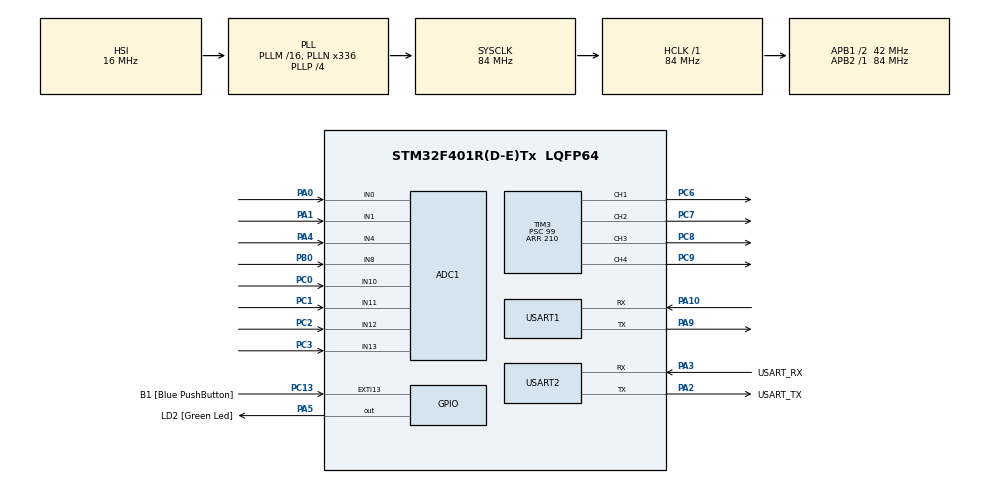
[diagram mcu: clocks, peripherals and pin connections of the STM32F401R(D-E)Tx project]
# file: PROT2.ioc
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ADC1.Channel-0\#ChannelRegularConversion=ADC_CHANNEL_0
ADC1.Channel-1\#ChannelRegularConversion=ADC_CHANNEL_1
ADC1.Channel-2\#ChannelRegularConversion=ADC_CHANNEL_4
ADC1.Channel-3\#ChannelRegularConversion=ADC_CHANNEL_8
ADC1.Channel-4\#ChannelRegularConversion=ADC_CHANNEL_10
ADC1.Channel-5\#ChannelRegularConversion=ADC_CHANNEL_11
ADC1.Channel-6\#ChannelRegularConversion=ADC_CHANNEL_12
ADC1.Channel-7\#ChannelRegularConversion=ADC_CHANNEL_13
ADC1.ContinuousConvMode=DISABLE
ADC1.DMAContinuousRequests=ENABLE
ADC1.EOCSelection=ADC_EOC_SEQ_CONV
ADC1.NbrOfConversion=8
ADC1.NbrOfConversionFlag=1
ADC1.Rank-0\#ChannelRegularConversion=1
ADC1.Rank-1\#ChannelRegularConversion=2
ADC1.Rank-2\#ChannelRegularConversion=3
ADC1.Rank-3\#ChannelRegularConversion=4
ADC1.Rank-4\#ChannelRegularConversion=5
ADC1.Rank-5\#ChannelRegularConversion=6
ADC1.Rank-6\#ChannelRegularConversion=7
ADC1.Rank-7\#ChannelRegularConversion=8
ADC1.SamplingTime-0\#ChannelRegularConversion=ADC_SAMPLETIME_15CYCLES
ADC1.SamplingTime-1\#ChannelRegularConversion=ADC_SAMPLETIME_15CYCLES
ADC1.SamplingTime-2\#ChannelRegularConversion=ADC_SAMPLETIME_15CYCLES
ADC1.SamplingTime-3\#ChannelRegularConversion=ADC_SAMPLETIME_15CYCLES
ADC1.SamplingTime-4\#ChannelRegularConversion=ADC_SAMPLETIME_15CYCLES
ADC1.SamplingTime-5\#ChannelRegularConversion=ADC_SAMPLETIME_15CYCLES
ADC1.SamplingTime-6\#ChannelRegularConversion=ADC_SAMPLETIME_15CYCLES
ADC1.SamplingTime-7\#ChannelRegularConversion=ADC_SAMPLETIME_15CYCLES
ADC1.ScanConvMode=ENABLE
ADC1.master=1
Dma.ADC1.0.Direction=DMA_PERIPH_TO_MEMORY
Dma.ADC1.0.FIFOMode=DMA_FIFOMODE_DISABLE
Dma.ADC1.0.Instance=DMA2_Stream0
Dma.ADC1.0.MemDataAlignment=DMA_MDATAALIGN_HALFWORD
Dma.ADC1.0.MemInc=DMA_MINC_ENABLE
Dma.ADC1.0.Mode=DMA_CIRCULAR
Dma.ADC1.0.PeriphDataAlignment=DMA_PDATAALIGN_HALFWORD
Dma.ADC1.0.PeriphInc=DMA_PINC_DISABLE
Dma.ADC1.0.Priority=DMA_PRIORITY_HIGH
Dma.Request0=ADC1
Mcu.Family=STM32F4
Mcu.Name=STM32F401R(D-E)Tx
Mcu.Package=LQFP64
NVIC.ADC_IRQn=true\:0\:0\:false\:false\:true\:true\:true\:true
NVIC.DMA2_Stream0_IRQn=true\:0\:0\:false\:false\:true\:false\:true\:true
NVIC.PriorityGroup=NVIC_PRIORITYGROUP_0
NVIC.TIM3_IRQn=true\:0\:0\:false\:false\:true\:true\:true\:true
NVIC.TIM4_IRQn=true\:0\:0\:false\:false\:true\:true\:true\:true
NVIC.USART1_IRQn=true\:0\:0\:false\:false\:true\:true\:true\:true
PA0-WKUP.Signal=ADCx_IN0
PA1.Signal=ADCx_IN1
PA10.Mode=Asynchronous
PA10.Signal=USART1_RX
PA13.GPIO_Label=TMS
PA13.Mode=Serial_Wire
PA13.Signal=SYS_JTMS-SWDIO
PA14.GPIO_Label=TCK
PA14.Mode=Serial_Wire
PA14.Signal=SYS_JTCK-SWCLK
PA2.GPIO_Label=USART_TX
PA2.GPIO_Mode=GPIO_MODE_AF_PP
PA2.GPIO_PuPd=GPIO_NOPULL
PA2.GPIO_Speed=GPIO_SPEED_FREQ_LOW
PA2.Mode=Asynchronous
PA2.Signal=USART2_TX
PA3.GPIO_Label=USART_RX
PA3.GPIO_Mode=GPIO_MODE_AF_PP
PA3.GPIO_PuPd=GPIO_NOPULL
PA3.GPIO_Speed=GPIO_SPEED_FREQ_LOW
PA3.Mode=Asynchronous
PA3.Signal=USART2_RX
PA4.Signal=ADCx_IN4
PA5.GPIO_Label=LD2 [Green Led]
PA5.GPIO_Mode=GPIO_MODE_OUTPUT_PP
PA5.GPIO_PuPd=GPIO_NOPULL
PA5.GPIO_Speed=GPIO_SPEED_FREQ_LOW
PA5.Signal=GPIO_Output
PA9.Mode=Asynchronous
PA9.Signal=USART1_TX
PB0.Signal=ADCx_IN8
PB3.GPIO_Label=SWO
PB3.Signal=SYS_JTDO-SWO
PC0.Signal=ADCx_IN10
PC1.Signal=ADCx_IN11
PC13-ANTI_TAMP.GPIO_Label=B1 [Blue PushButton]
PC13-ANTI_TAMP.GPIO_ModeDefaultEXTI=GPIO_MODE_IT_FALLING
PC13-ANTI_TAMP.GPIO_PuPd=GPIO_NOPULL
PC13-ANTI_TAMP.Signal=GPXTI13
PC14-OSC32_IN.Mode=LSE-External-Oscillator
PC14-OSC32_IN.Signal=RCC_OSC32_IN
PC15-OSC32_OUT.Mode=LSE-External-Oscillator
PC15-OSC32_OUT.Signal=RCC_OSC32_OUT
PC2.Signal=ADCx_IN12
PC3.Signal=ADCx_IN13
PC6.Signal=S_TIM3_CH1
PC7.Signal=S_TIM3_CH2
PC8.Signal=S_TIM3_CH3
PC9.Signal=S_TIM3_CH4
PH0\ -\ OSC_IN.Mode=HSE-External-Clock-Source
PH0\ -\ OSC_IN.Signal=RCC_OSC_IN
PH1\ -\ OSC_OUT.Mode=HSE-External-Clock-Source
PH1\ -\ OSC_OUT.Signal=RCC_OSC_OUT
ProjectManager.HeapSize=0x200
ProjectManager.StackSize=0x400
ProjectManager.TargetToolchain=STM32CubeIDE
RCC.48MHZClocksFreq_Value=48000000
RCC.AHBFreq_Value=84000000
RCC.APB1CLKDivider=RCC_HCLK_DIV2
RCC.APB1Freq_Value=42000000
RCC.APB1TimFreq_Value=84000000
RCC.APB2Freq_Value=84000000
RCC.APB2TimFreq_Value=84000000
RCC.CortexFreq_Value=84000000
RCC.HCLKFreq_Value=84000000
RCC.HSE_VALUE=8000000
RCC.HSI_VALUE=16000000
RCC.PLLN=336
RCC.PLLP=RCC_PLLP_DIV4
RCC.PLLQ=7
RCC.SYSCLKFreq_VALUE=84000000
RCC.SYSCLKSource=RCC_SYSCLKSOURCE_PLLCLK
RCC.VCOOutputFreq_Value=336000000
SH.ADCx_IN0.0=ADC1_IN0,IN0
SH.ADCx_IN1.0=ADC1_IN1,IN1
SH.ADCx_IN10.0=ADC1_IN10,IN10
SH.ADCx_IN11.0=ADC1_IN11,IN11
SH.ADCx_IN12.0=ADC1_IN12,IN12
SH.ADCx_IN13.0=ADC1_IN13,IN13
SH.ADCx_IN4.0=ADC1_IN4,IN4
SH.ADCx_IN8.0=ADC1_IN8,IN8
SH.S_TIM3_CH1.0=TIM3_CH1,PWM Generation1 CH1
SH.S_TIM3_CH2.0=TIM3_CH2,PWM Generation2 CH2
SH.S_TIM3_CH3.0=TIM3_CH3,PWM Generation3 CH3
SH.S_TIM3_CH4.0=TIM3_CH4,PWM Generation4 CH4
TIM3.Channel-PWM\ Generation1\ CH1=TIM_CHANNEL_1
TIM3.Channel-PWM\ Generation2\ CH2=TIM_CHANNEL_2
TIM3.Channel-PWM\ Generation3\ CH3=TIM_CHANNEL_3
TIM3.Channel-PWM\ Generation4\ CH4=TIM_CHANNEL_4
TIM3.Period=210
TIM3.Prescaler=99
TIM4.Period=8400
TIM4.Prescaler=100
USART1.VirtualMode=VM_ASYNC
USART2.VirtualMode=VM_ASYNC
VP_TIM3_VS_ClockSourceINT.Mode=Internal
VP_TIM4_VS_ClockSourceINT.Mode=Internal
board=NUCLEO-F401RE

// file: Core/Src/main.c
/* USER CODE BEGIN Header */
/**
  ******************************************************************************
  * @file           : main.c
  * @brief          : Main program body
  ******************************************************************************
  * @attention
  *
  * Copyright (c) 2023 STMicroelectronics.
  * All rights reserved.
  *
  * This software is licensed under terms that can be found in the LICENSE file
  * in the root directory of this software component.
  * If no LICENSE file comes with this software, it is provided AS-IS.
  *
  ******************************************************************************
  */
/* USER CODE END Header */
#include "main.h"

/* USER CODE BEGIN Includes */
#include "string.h"
#include "stdlib.h"
/* USER CODE END Includes */

/* USER CODE BEGIN PTD */
 typedef union{
        uint8_t u8[4];
        int8_t  i8[4];

        uint16_t u16[2];
        int16_t  i16[2];

        uint32_t u32;
        int32_t  i32;

        float    f;
}_sWork;

typedef union{
    struct{
        uint8_t b0:1;
        uint8_t b1:1;
        uint8_t b2:1;
        uint8_t b3:1;
        uint8_t b4:1;
        uint8_t b5:1;
        uint8_t b6:1;
        uint8_t b7:1;
    }bit;
    uint8_t byte;
}flag;
/* USER CODE END PTD */

/* USER CODE BEGIN PD */
#define race 				flag1.bit.b0
#define ON100MS				flag1.bit.b1
#define ON10MS				flag1.bit.b2
#define stop				flag1.bit.b3
#define readyToSend			flag1.bit.b4
#define espReadyToRecieve	flag1.bit.b5
#define killRace			flag1.bit.b6
#define espConnected		flag2.bit.b0
#define sendALIVE			flag2.bit.b1
/* USER CODE END PD */

ADC_HandleTypeDef hadc1;
DMA_HandleTypeDef hdma_adc1;

TIM_HandleTypeDef htim3;
TIM_HandleTypeDef htim4;

UART_HandleTypeDef huart1;
UART_HandleTypeDef huart2;

/* USER CODE BEGIN PV */
const char AT_com[]="AT\r\n";//4
const char AT_ans[]="AT\r\n\r\nOK\r\n";//10

const char CWQAP[]="AT+CWQAP\r\n";//10
const char ANS_CWQAP[]={"AT+CWQAP\r\n\r\nOK\r\n"};//16
const char ANS_CWQAP2[]={"AT+CWQAP\r\n\r\nOK\r\nWIFI DISCONNECT/r/n"};//35

const char CWMODE[]="AT+CWMODE=3\r\n";//13
const char ANS_CWMODE[]="AT+CWMODE=3\r\n\r\nOK\r\n";//19

const char CWJAP_casa[]="AT+CWJAP=\"FTTHBOUVET\",\"wenvla3112\"\r\n";//36
const char ANS_CWJAP_casa2[]="AT+CWJAP=\"FTTHBOUVET\",\"wenvla3112\"\r\n";//36
const char ANS_CWJAP_casa[]="AT+CWJAP=\"FTTHBOUVET\",\"wenvla3112\"\r\nWIFI CONNECTED\r\nWIFI GOT IP\r\n\r\nOK\r\n";//71

const char CIFSR[]="AT+CIFSR\r\n";//10
const char CIFSR_STAIP[]="+CIFSR:STAIP,";//13

const char CIPMUX[]="AT+CIPMUX=0\r\n";//13
const char ANS_CIPMUX[]="AT+CIPMUX=0\r\n\r\nOK\r\n";//19

const char CIPSTART[]="AT+CIPSTART=\"UDP\",\"192.168.1.195\",30017,3017\r\n";//46
const char ANS_CIPSTART2[]="AT+CIPSTART=\"UDP\",\"192.168.1.195\",30017,3017\r\nCONNECT\r\n\r\nOK\r\n";//61
const char ANS_CIPSTART[]="AT+CIPSTART=\"UDP\",\"192.168.1.195\",30017,3017\r\n";//46
const char ANS_CIPSTART_ERROR[]="AT+CIPSTART=\"UDP\",\"192.168.1.195\",30017,3017\r\nALREADY CONNECTED\r\n\r\nERROR\r\n";//74
const char AUTOMATIC_WIFI_CONNECTED[]={"WIFI CONNECTED\r\nWIFI GOT IP\r\n"};//29
const char WIFI_DISCONNECT[]="WIFI DISCONNECT\r\n";//17

const char CIPSEND[]="AT+CIPSEND=";//11
const char CIPSEND1[]={'A','T','+','C','I','P','S','E','N','D','='};
const char CIPSEND2[]={'\r','\n','\r','\n','O','K','\r','\n','>'};
const char CIPSEND3[]="Recv ";
const char CIPSEND4[]={" bytes\r\n\r\nSEND OK\r\n"};//25

const char OK[]="\r\nOK\r\n";
const char IPD[]="\r\n+IPD,";
const char UNER[]="UNER";
const char ALIVE[]={'U','N','E','R', 0x02 ,':',0xF0};
const char ACK_D0[]={'U','N','E','R',0x03,':',0xD0,0x0D,0xDC};
const int COORD_SENSORES[]={-5,-4,-3,-2,-1,1,2,3,4,5};

volatile uint8_t buf_rx[256];
volatile uint8_t buf_tx[256];

volatile uint16_t ADCData[32][8];

char espIP[15];

volatile uint8_t time100ms=0;
volatile uint8_t time10ms=0;

volatile uint8_t indRX_W=0;
volatile uint8_t indRX_R=0;
volatile uint8_t indTX_W=0;
volatile uint8_t indTX_R=0;
volatile uint8_t indADC=0;

uint8_t coincidencias = 0, coincidencias2 = 0, duty = 0, AT=0, decoCIPSEND=0, decodeCIF=0, decoIPD=0;
uint8_t timeout1=0, timeout2=0, timeoutADC=0, timeoutPID=0;
uint8_t largoIP=0, bytesToSend=0, bytesToSend_aux=0, timeToSendAlive=0;
uint8_t cks, bytesUNERprotocol, contByte=1, cmdPosInBuf;
uint8_t comandoActual=0, primLectADC=1;
uint8_t firstCalcu=1,timeOutArranque, calibADC=1,CALIBRADO=0;

_sWork PWM_motor1,PWM_motor2,jobTime,error;
_sWork valueADC[8], valueADCCAL[8];
_sWork Kp,Kd,Ki;
_sWork pwmBase;

volatile flag flag1,flag2;

float integral=0,derivativo=0,turn=0,Error=0,lastError=0;
float  Constante_Relacion[8],proporcional = 0, cuentapid=0, valorsensormax=0;
/* USER CODE END PV */

void SystemClock_Config(void);
static void MX_GPIO_Init(void);
static void MX_DMA_Init(void);
static void MX_USART2_UART_Init(void);
static void MX_TIM4_Init(void);
static void MX_USART1_UART_Init(void);
static void MX_TIM3_Init(void);
static void MX_ADC1_Init(void);
/* USER CODE BEGIN PFP */
void HAL_UART_RxCpltCallback(UART_HandleTypeDef *huart);
void HAL_TIM_PeriodElapsedCallback(TIM_HandleTypeDef *htim);
void HAL_ADC_ConvCpltCallback(ADC_HandleTypeDef* hadc);
void initEsp();
void uart();
void recibirmensaje();
void udpCom(uint8_t cmd);
void DecodeComands(uint8_t *buffer,uint8_t indexCMD);
void leerADC();
void findLine(_sWork *BUFADC);
void calcPID(uint32_t pwmBase1,uint32_t pwmBase2);
void calibrarADC();
void calibrarVal(void);
/* USER CODE END PFP */

/* USER CODE BEGIN 0 */
void HAL_UART_RxCpltCallback(UART_HandleTypeDef *huart){

	indRX_W++;
	HAL_UART_Receive_IT(&huart1, (uint8_t *) &buf_rx[indRX_W], 1);
}

void HAL_ADC_ConvCpltCallback(ADC_HandleTypeDef* hadc){

	//indADC++;
	if(indADC==32){
		indADC=0;
	}
}

void HAL_TIM_PeriodElapsedCallback(TIM_HandleTypeDef *htim){

	if(htim->Instance == TIM4){//ENTRA CADA 10 MS
			indADC++;
			HAL_ADC_Start_DMA(&hadc1, (uint32_t *)&ADCData,8*32);

			if(indADC==32){
					indADC=0;
				}

			time100ms--;
			if(!time100ms){
				time100ms=10;
				ON100MS = 1;
			}
			time10ms--;
			if(!time10ms){
				time10ms=1;
				ON10MS = 1;
			}
		}
}

void uart(){

	if((huart1.Instance->SR & UART_FLAG_TXE)==UART_FLAG_TXE){
		huart1.Instance->DR=buf_tx[indTX_R];
		indTX_R++;
	}

}

void initEsp(){

	if(readyToSend){
		switch(AT){
			case 0:
				memcpy((uint8_t*)&buf_tx[indTX_W],AT_com,4);
				indTX_W+=4;
				timeout2 = 10;
				readyToSend = 0;
			break;
			case 1:
				memcpy((uint8_t*)&buf_tx[indTX_W],CWQAP,10);
				indTX_W+=10;
				timeout2 = 10;
				readyToSend = 0;
			break;
			case 2:
				memcpy((uint8_t*)&buf_tx[indTX_W],CWMODE,13);
				indTX_W+=13;
				timeout2 = 10;
				readyToSend = 0;
			break;
			case 3:
				memcpy((uint8_t*)&buf_tx[indTX_W],CWJAP_casa,36);
				indTX_W+=36;
				timeout2 = 50;
				readyToSend = 0;
			break;
			case 4:
				memcpy((uint8_t*)&buf_tx[indTX_W],CIPMUX,13);
				indTX_W+=13;
				timeout2 = 10;
				readyToSend = 0;
			break;
			case 5:
				memcpy((uint8_t*)&buf_tx[indTX_W],CIFSR,10);
				indTX_W+=10;
				timeout2 = 10;
				readyToSend = 0;
			break;
			case 6:
				memcpy((uint8_t*)&buf_tx[indTX_W],CIPSTART,46);
				indTX_W+=46;
				timeout2 = 20;
				readyToSend = 0;
			break;
			case 7:
				duty++;
			break;
		}

	}

}

void recibirmensaje(){

	switch(AT){
		case 0:
			if(buf_rx[indRX_R]==AT_ans[coincidencias]){
				coincidencias++;

				if(coincidencias>6){
					//HAL_GPIO_TogglePin(LD2_GPIO_Port, LD2_Pin);
					coincidencias = 0;
					AT++;
					readyToSend = 1;
				}
			}else{
				if(!timeout2){
					indRX_R=indRX_W;
					coincidencias = 0;
					readyToSend=1;
					break;
				}
			}
		break;
		case 1:
			if(buf_rx[indRX_R]==ANS_CWQAP[coincidencias]){
				coincidencias++;

				if(coincidencias>14){
					//HAL_GPIO_TogglePin(LD2_GPIO_Port, LD2_Pin);
					coincidencias = 0;
					AT++;
					readyToSend = 1;
				}
			}else{
				if(!timeout2){
					indRX_R=indRX_W;
					coincidencias = 0;
					readyToSend=1;
					break;
				}
			}
			/*
			if(buf_rx[indRX_R]==AUTOMATIC_WIFI_CONNECTED[coincidencias]){
				coincidencias++;

				if(coincidencias>25){
					coincidencias = 0;
					AT++;
					readyToSend = 1;
				}
			}else{
				if(buf_rx[indRX_R]==WIFI_DISCONNECT[coincidencias]){
					coincidencias++;

					if(coincidencias>15){
						coincidencias = 0;
						AT=0;
						readyToSend = 1;
						//reiniciar pin enable y abortar comunicacion
						timeout1=10;
					}
				}else{
					if(!timeout2){
						indRX_R=indRX_W;
						coincidencias = 0;
						readyToSend=1;
						AT=2;
						break;
					}
				}
			}
		break;*/
		case 2:
			if(buf_rx[indRX_R]==ANS_CWMODE[coincidencias]){
				coincidencias++;

				if(coincidencias>17){
					coincidencias = 0;
					AT++;
					readyToSend = 1;
				}
			}else{
				if(!timeout2){
					indRX_R=indRX_W;
					coincidencias = 0;
					readyToSend=1;
					break;
				}
			}
		break;
		case 3:
			if(buf_rx[indRX_R]==ANS_CWJAP_casa[coincidencias]){
				coincidencias++;

				if(coincidencias>68){
					coincidencias = 0;
					AT++;
					readyToSend = 1;
				}
			}
		break;
		case 4:
			if(buf_rx[indRX_R]==ANS_CIPMUX[coincidencias]){
				coincidencias++;

				if(coincidencias>17){
					coincidencias = 0;
					AT+=2;
					readyToSend = 1;
				}
			}else{
				if(!timeout2){
					indRX_R=indRX_W;
					coincidencias = 0;
					readyToSend=1;
					break;
				}
			}
		break;
		case 5:
			switch(decodeCIF){
			case 0:
				if(buf_rx[indRX_R]==CIFSR[coincidencias]){
					coincidencias++;

					if(coincidencias>8){
						coincidencias = 0;
						decodeCIF++;
						//AT++;
						//readyToSend = 1;
					}
				}else{
					if(!timeout2){
						indRX_R=indRX_W;
						coincidencias = 0;
						readyToSend=1;
						break;
					}
				}
			break;
			case 1:
				if(buf_rx[indRX_R]==CIFSR_STAIP[coincidencias]){
					coincidencias++;

					if(coincidencias>10){
						coincidencias = 0;
						decodeCIF++;
						//AT++;
						//readyToSend = 1;
					}
				}
			break;
			case 2:
				espIP[coincidencias]=buf_rx[indRX_R];
				coincidencias++;
				if((buf_rx[indRX_R]=='"')&&(largoIP>1)){
					coincidencias=0;
					decodeCIF++;
				}
			break;
			case 3:
				if(buf_rx[indRX_R]==OK[coincidencias]){
					coincidencias++;

					if(coincidencias>4){
						coincidencias = 0;
						decodeCIF=0;
						AT++;
						readyToSend = 1;
					}
				}
			break;
			}
		break;
		case 6:
			if(buf_rx[indRX_R]==ANS_CIPSTART[coincidencias]){
				coincidencias++;

				if(coincidencias>44){
					coincidencias = 0;
					coincidencias2 = 0;
					AT=8;
					readyToSend = 1;
					espConnected=1;
					HAL_GPIO_TogglePin(LD2_GPIO_Port, LD2_Pin);
					sendALIVE=1;
				}
			}/*
				if(buf_rx[indRX_R]==ANS_CIPSTART_ERROR[coincidencias2]){
					coincidencias2++;

					if(coincidencias>71){
						coincidencias = 0;
						coincidencias2 = 0;
						AT++;
						readyToSend = 1;
						espConnected=1;
					}
				}*/else{
					if(!timeout2){
						indRX_R=indRX_W;
						coincidencias = 0;
						readyToSend=1;
						break;
					}
				}

		break;
		case 7:
			switch(decoCIPSEND){
				case 0:
					if(buf_rx[indRX_R]==CIPSEND[coincidencias]){
						coincidencias++;

						if(coincidencias>9){
							coincidencias = 0;
							decoCIPSEND++;
							//AT++;
							//readyToSend = 1;
						}
					}else{
						if(!timeout2){
							indRX_R=indRX_W;
							coincidencias = 0;
							readyToSend=1;
							espReadyToRecieve=0;
							sendALIVE=0;
							timeToSendAlive=30;
							break;
						}
					}
				break;
				case 1:
					if((buf_rx[indRX_R]==bytesToSend+'0')&&((bytesToSend<10))){//reviso q sean menos de 10 bytes
						decoCIPSEND+=2;
					}else{

						if(buf_rx[indRX_R]==bytesToSend/10+'0'){
							decoCIPSEND++;
							bytesToSend_aux=bytesToSend/10;
							bytesToSend_aux*=10;
						}
					}
				break;
				case 2:
					if(buf_rx[indRX_R]==bytesToSend-bytesToSend_aux+'0'){
						decoCIPSEND++;
					}
				break;
				case 3:
					if(buf_rx[indRX_R]==CIPSEND2[coincidencias]){
						coincidencias++;

						if(coincidencias>7){
							coincidencias = 0;
							decoCIPSEND++;
							//AT++;
							readyToSend = 1;
							espReadyToRecieve=1;
						}
					}else{
						if(!timeout2){
							decoCIPSEND=0;
							indRX_R=indRX_W;
							coincidencias = 0;
							readyToSend=1;
							espReadyToRecieve=0;
							sendALIVE=0;
							timeToSendAlive=30;
							break;
						}
					}
				break;
				case 4:
					if(buf_rx[indRX_R]==CIPSEND3[coincidencias]){
						coincidencias++;

						if(coincidencias>3){
							coincidencias = 0;
							decoCIPSEND++;
						}
					}else{
						if(!timeout2){
							decoCIPSEND=0;
							indRX_R=indRX_W;
							coincidencias = 0;
							readyToSend=1;
							espReadyToRecieve=0;
							sendALIVE=0;
							timeToSendAlive=30;
							break;
						}
					}
				break;
				case 5:
					if((buf_rx[indRX_R]==bytesToSend+'0')&&((bytesToSend<10))){//reviso q sean menos de 10 bytes
						decoCIPSEND+=2;
					}else{

						if(buf_rx[indRX_R]==bytesToSend/10+'0'){
							decoCIPSEND++;
						}else{
							if(!timeout2){
								decoCIPSEND=0;
								indRX_R=indRX_W;
								coincidencias = 0;
								readyToSend=1;
								espReadyToRecieve=0;
								sendALIVE=0;
								timeToSendAlive=30;
								break;
							}
						}
					}
				break;
				case 6:
					if(buf_rx[indRX_R]==bytesToSend-bytesToSend_aux+'0'){
						decoCIPSEND++;
					}else{
						if(!timeout2){
							decoCIPSEND=0;
							indRX_R=indRX_W;
							coincidencias = 0;
							readyToSend=1;
							espReadyToRecieve=0;
							sendALIVE=0;
							timeToSendAlive=30;
							break;
						}
					}
				break;
				case 7:
					if(buf_rx[indRX_R]==CIPSEND4[coincidencias]){
						coincidencias++;

						if(coincidencias>17){
							coincidencias = 0;
							decoCIPSEND=0;
							AT=8;
							readyToSend=1;
							espReadyToRecieve=0;
						}
					}else{
						if(!timeout2){
							decoCIPSEND=0;
							indRX_R=indRX_W;
							coincidencias = 0;
							readyToSend=1;
							espReadyToRecieve=0;
							sendALIVE=0;
							timeToSendAlive=30;
							break;
						}
					}
				break;
			}
		break;
		case 8:
			switch(decoIPD){
				case 0:
					if(buf_rx[indRX_R]==IPD[coincidencias]){
						coincidencias++;

						if(coincidencias>4){
							coincidencias = 0;
							decoIPD++;
						}
					}else{
						if(coincidencias>0){
							indRX_R=indRX_W;
							coincidencias=0;
							break;
						}
					}
				break;
				case 1:
					if(buf_rx[indRX_R]==':'){
						decoIPD++;
					}
				break;
				case 2:
					if(buf_rx[indRX_R]==UNER[coincidencias]){
						coincidencias++;

						if(coincidencias>3){
							coincidencias = 0;
							decoIPD++;
							cks='U'^'N'^'E'^'R';
						}
					}else{
						if(coincidencias>0){
							indRX_R=indRX_W;
							coincidencias=0;
							decoIPD=0;
							break;
						}
					}
				break;
				case 3:
					bytesUNERprotocol=buf_rx[indRX_R];
					decoIPD++;
					cks^=buf_rx[indRX_R];
				break;
				case 4:
					if(buf_rx[indRX_R]==':'){
						decoIPD++;
						cks^=buf_rx[indRX_R];
					}else{
						indRX_R=indRX_W;
						coincidencias=0;
						decoIPD=0;
						break;
					}
				break;
				case 5:
					if(contByte==1){
						cmdPosInBuf=indRX_R;
					}
					if(contByte<bytesUNERprotocol){
						cks^=buf_rx[indRX_R];
						contByte++;
					}else{
						if(cks==buf_rx[indRX_R]){
							DecodeComands((uint8_t*)&buf_rx, cmdPosInBuf);
							//HAL_GPIO_TogglePin(LD2_GPIO_Port, LD2_Pin);
							contByte=1;
							coincidencias=0;
							decoIPD=0;
						}else{
							contByte=1;
							coincidencias=0;
							decoIPD=0;
						}
					}
				break;
			}
		break;
		default:

		break;
	}
	indRX_R++;
}

void udpCom(uint8_t cmd){

	if(readyToSend){
		switch(cmd){
			case 0:
				if(!espReadyToRecieve){
					AT=7;
					memcpy((uint8_t*)&buf_tx[indTX_W],CIPSEND,11);
					indTX_W+=11;
					memcpy((uint8_t*)&buf_tx[indTX_W],"8\r\n",3);
					indTX_W+=3;
					bytesToSend=8;
					timeout2 = 8;
					readyToSend = 0;
				}else{
					memcpy((uint8_t*)&buf_tx[indTX_W],ALIVE,7);
					indTX_W+=7;
					buf_tx[indTX_W]='U'^'N'^'E'^'R'^0x02^':'^0xF0;
					indTX_W+=1;
					espReadyToRecieve=0;
					sendALIVE=0;
					readyToSend = 0;
				}
			break;
			case 1:
				if(!espReadyToRecieve){
					AT=7;
					memcpy((uint8_t*)&buf_tx[indTX_W],CIPSEND,11);
					indTX_W+=11;
					memcpy((uint8_t*)&buf_tx[indTX_W],"9\r\n",3);
					indTX_W+=3;
					bytesToSend=9;
					timeout2 = 20;
					readyToSend = 0;
				}else{
					memcpy((uint8_t*)&buf_tx[indTX_W],ACK_D0,9);
					indTX_W+=9;
					buf_tx[indTX_W]='U'^'N'^'E'^'R'^0x03^':'^0xD0^0x0D;
					indTX_W+=1;
					espReadyToRecieve=0;
					duty++;
				}
			break;
			/*case 2:
				if(!espReadyToRecieve){
					AT=7;
					memcpy((uint8_t*)&buf_tx[indTX_W],CIPSEND,11);
					indTX_W+=11;
					memcpy((uint8_t*)&buf_tx[indTX_W],"8\r\n",3);
					indTX_W+=3;
					bytesToSend=8;
					timeout2 = 8;
					readyToSend = 0;
				}else{
					memcpy((uint8_t*)&buf_tx[indTX_W],"'U','N','E','R','38',':',0XA1,7);
					indTX_W+=7;

					buf_tx[indTX_W]='U'^'N'^'E'^'R'^0x09^':'^valueADCCAL[0]^valueADCCAL[1]^valueADCCAL[2]^valueADCCAL[3]^valueADCCAL[4]^valueADCCAL[5]^valueADCCAL[6]^valueADCCAL[7];
					indTX_W+=1;
					espReadyToRecieve=0;
					sendALIVE=0;
					readyToSend = 0;
				}
			break;*/
		}
	}
}

void DecodeComands(uint8_t *buffer,uint8_t indexCMD){

	uint8_t i=1;

		switch(buffer[indexCMD]){
		case 0xA1://Send adc
				//udpCom(2);
		break;
			case 0xB3://STOP AUTITO
					comandoActual=0xB3;
					stop=1;
			break;
			case 0xD5: //START AUTITO(asi nomas)
					PWM_motor2.u32=200;
					PWM_motor1.u32=200;
					race=1;
					timeoutPID=2;
					calcPID(200,200);
			break;
			case 0xF1: //START AUTITO(mandar pwm)
					PWM_motor1.u8[0]=buffer[indexCMD+i];
					i++;
					PWM_motor1.u8[1]=buffer[indexCMD+i];
					i++;
					PWM_motor1.u8[2]=buffer[indexCMD+i];
					i++;
					PWM_motor1.u8[3]=buffer[indexCMD+i];
					PWM_motor2.u32=PWM_motor1.u32;
					comandoActual=0xF1;
					race=1;
					timeoutPID=2;
			break;
			case 0xC0:	//SETEAR PARAMETROS CONTROL PID
					Kp.u8[0]=buffer[indexCMD+i];
					i++;
					Kp.u8[1]=buffer[indexCMD+i];
					i++;
					Kp.u8[2]=buffer[indexCMD+i];
					i++;
					Kp.u8[3]=buffer[indexCMD+i];
					i++;
					Kp.u8[0]=buffer[indexCMD+i];
					i++;
					Kd.u8[1]=buffer[indexCMD+i];
					i++;
					Kd.u8[2]=buffer[indexCMD+i];
					i++;
					Kd.u8[3]=buffer[indexCMD+i];
					i++;
					Ki.u8[0]=buffer[indexCMD+i];
					i++;
					Ki.u8[1]=buffer[indexCMD+i];
					i++;
					Ki.u8[2]=buffer[indexCMD+i];
					i++;
					Ki.u8[3]=buffer[indexCMD+i];
					i++;
					comandoActual=0xC0;
			break;
			case 0xF0: //ALIVE
					sendALIVE=1;
					readyToSend=1;
			break;
			case 0xD0://JOB TIME
					PWM_motor1.u8[0]=buffer[indexCMD+i];
					i++;
					PWM_motor1.u8[1]=buffer[indexCMD+i];
					i++;
					PWM_motor1.u8[2]=buffer[indexCMD+i];
					i++;
					PWM_motor1.u8[3]=buffer[indexCMD+i];
					i++;

					PWM_motor2.u8[0]=buffer[indexCMD+i];
					i++;
					PWM_motor2.u8[1]=buffer[indexCMD+i];
					i++;
					PWM_motor2.u8[2]=buffer[indexCMD+i];
					i++;
					PWM_motor2.u8[3]=buffer[indexCMD+i];
					i++;

					jobTime.u8[0]=buffer[indexCMD+i];
					i++;
					jobTime.u8[1]=buffer[indexCMD+i];
					i++;
					jobTime.u8[2]=buffer[indexCMD+i];
					i++;
					jobTime.u8[3]=buffer[indexCMD+i];
					i++;
					jobTime.u32=jobTime.u32/100;
					__HAL_TIM_SET_COMPARE(&htim3,TIM_CHANNEL_1,0);
					__HAL_TIM_SET_COMPARE(&htim3,TIM_CHANNEL_2,PWM_motor1.u32);
					__HAL_TIM_SET_COMPARE(&htim3,TIM_CHANNEL_3,PWM_motor2.u32);
					__HAL_TIM_SET_COMPARE(&htim3,TIM_CHANNEL_4,0);
					race=1;
					killRace=1;
					//duty=2;
					timeoutPID=2;
					comandoActual=0xD0;
					//comando=0xD0;
					readyToSend=1;
			break;
			case 0xA5: //Calibrar ADC
				calibADC = 1;
				CALIBRADO =0;
			break;
		}
}

void leerADC(){

	if(indADC>2){
		primLectADC=0;
		for(uint8_t c=0;c<8;c++){
			valueADC[c].u32=( ADCData[indADC-1][c]+ADCData[indADC-2][c]+ADCData[indADC-3][c] ) / 3 ;

		}
	}else{
		if(!primLectADC){
			for(uint8_t c=0;c<8;c++){
				switch(indADC){
					case 2:
						valueADC[c].u32=(ADCData[1][c]+ADCData[0][c]+ADCData[31][c]) / 3;
						break;
					case 1:
						valueADC[c].u32=( ADCData[0][c]+ADCData[31][c]+ADCData[30][c] ) / 3 ;
						break;
					case 0:
						valueADC[c].u32=( ADCData[31][c]+ADCData[30][c]+ADCData[29][c] ) / 3;
						break;
				}
			}
		}
	}
}

uint8_t posMINCenter=0,posMINRight=0,posMINLeft=0;
uint16_t sensorValue=0;
float xMin=0,fx2_fx3,fx2_fx1,x2_x1,x2_x3,x2_x1cuad,x2_x3cuad,denominador, numerador, cuenta;
uint8_t f=0;

void findLine(_sWork *BUFADC){

	float aux[10];

		sensorValue = BUFADC[0].i32;

		posMINCenter=1;
		while(f<8){					//ENCUENTRO LA MENOR LECTURA
			if(sensorValue > BUFADC[f].i32){
				sensorValue=BUFADC[f].i32;
				posMINCenter=f+1;
			}
			aux[f+1]=BUFADC[f].i32;
			f++;
		}
		f=0;
		//posMINCenter+=1;
		aux[0]=aux[2];
		aux[9]=aux[7];

		posMINRight=posMINCenter+1;
		posMINLeft=posMINCenter-1;

		fx2_fx3=aux[posMINCenter]-aux[posMINRight];
		fx2_fx1=aux[posMINCenter]-aux[posMINLeft];

		x2_x1=COORD_SENSORES[posMINCenter]-COORD_SENSORES[posMINLeft];
		x2_x1cuad=(x2_x1*x2_x1);
		x2_x3=COORD_SENSORES[posMINCenter]-COORD_SENSORES[posMINRight];
		x2_x3cuad=(x2_x3*x2_x3);

		numerador=((x2_x1cuad*fx2_fx3) - (x2_x3cuad*fx2_fx1));
		denominador=(2*((x2_x1*fx2_fx3)-(x2_x3*fx2_fx1)));
		cuenta=numerador / denominador;
		if(denominador!=0){
			xMin=-(COORD_SENSORES[posMINCenter]-cuenta);
			error.f=xMin;
		}
		//return -xMin;

}

void calcPID(uint32_t pwmBase1,uint32_t pwmBase2){

	int32_t pwm1b,pwm2b;

		integral+=error.f;

		if(integral > 1000){
				integral = 0;
		}

		derivativo=error.f-lastError;
		turn= (Kp.u32 * error.f) + (Kd.u32 * derivativo) + (Ki.u32 * integral);

		pwm1b=pwmBase1 - turn;
		pwm2b=pwmBase2 + turn;

		if(pwm1b>400){
			pwm1b=400;
		}
		if(pwm2b>400){
			pwm2b=400;
		}

		__HAL_TIM_SET_COMPARE(&htim3,TIM_CHANNEL_1,0);
		__HAL_TIM_SET_COMPARE(&htim3,TIM_CHANNEL_2,pwm1b);
		__HAL_TIM_SET_COMPARE(&htim3,TIM_CHANNEL_3,pwm2b);
		__HAL_TIM_SET_COMPARE(&htim3,TIM_CHANNEL_4,0);
		lastError=error.f;
}

void calibrarADC(){

	for (uint8_t i = 1; i < 8; i++) {
			Constante_Relacion[i] = (valueADC[0].f)/(valueADC[i].f);
			//bufADCCAL[i].f = (bufADC[i].f)*(Constante_Relacion[i]);
		}

		valorsensormax = valueADC[0].f;
		for (uint8_t i = 1; i < 8; i++) {
			if(valorsensormax < (valueADC[i].f * Constante_Relacion[i])){
				valorsensormax = (valueADC[i].f * Constante_Relacion[i]);
			}
		}
		valorsensormax = valorsensormax * 0.75;
}

void calibrarVal(void){
	valueADCCAL[0].f = valueADC[0].f;
		for(uint8_t i = 1; i<8; i++){
			valueADCCAL[i].f= (valueADC[i].f)*(Constante_Relacion[i]);
		}
}
/* USER CODE END 0 */

int main(void)
{

  /* MCU Configuration--------------------------------------------------------*/

  /* Reset of all peripherals, Initializes the Flash interface and the Systick. */
  HAL_Init();

  /* Configure the system clock */
  SystemClock_Config();

  /* Initialize all configured peripherals */
  MX_GPIO_Init();
  MX_DMA_Init();
  MX_USART2_UART_Init();
  MX_TIM4_Init();
  MX_USART1_UART_Init();
  MX_TIM3_Init();
  MX_ADC1_Init();
  /* USER CODE BEGIN 2 */
  HAL_TIM_Base_Start_IT(&htim4);
  HAL_TIM_Base_Start(&htim3);
  //HAL_ADC_Start_IT(&hadc1);

  HAL_TIM_PWM_Start(&htim3, TIM_CHANNEL_1);
  HAL_TIM_PWM_Start(&htim3, TIM_CHANNEL_2);
  HAL_TIM_PWM_Start(&htim3, TIM_CHANNEL_3);
  HAL_TIM_PWM_Start(&htim3, TIM_CHANNEL_4);

  timeout2=30;
  //timeOut3=10;
  timeToSendAlive=30;
  timeout1=30;
  timeoutADC=0;
  readyToSend=1;
  race=0;
  killRace=0;
  stop=0;
  duty=0;
  espConnected=0;
  sendALIVE=0;

  PWM_motor1.u32=0;
  PWM_motor2.u32=0;
  time100ms=10;
  time10ms=1;

  //timeoutOK=200;
  /* USER CODE END 2 */

  /* Infinite loop */
  while (1)
  {

    /* USER CODE BEGIN 3 */
	  if(ON100MS){
	  	 		ON100MS=0;
	  	 	  	if(timeout1>0)
	  	 	  		timeout1--;
	  	 		if(timeout2>0)
	  	 			timeout2--;
	  	 		if(jobTime.u32>0)
	  	 			jobTime.u32--;
	  	 		if((timeToSendAlive>0)&&(espConnected))
	  	 			timeToSendAlive--;
	  	  }

	  if(ON10MS){
		  ON10MS=0;
		  if(timeoutADC>0){
			  timeoutADC--;
		  }
		  if(timeoutPID>0){
		  		timeoutPID--;
		  }
	  }

	  	  if( (!timeToSendAlive) && (espConnected) ){
	  		  sendALIVE=1;
	  		  espReadyToRecieve=0;
	  		  timeToSendAlive=50;
	  		  readyToSend=1;
	  	  }

	  	  if(sendALIVE){
	  	  	udpCom(0);
	  	  }

	  	  if(calibADC && !CALIBRADO){
	  		calibrarADC();
	  		CALIBRADO=1;
	  	  }

	  	switch(duty){
	  		case 0:
	  			if(!timeout1){
	  				initEsp();
	  				HAL_UART_Receive_IT(&huart1, (uint8_t *)&buf_rx[indRX_W], 1);
	  				duty++;
	  			}
	  		break;
	  		case 1:
	  			initEsp();
	  		break;
	  		case 2:
	  			//udpCom(0);
	  			//HAL_GPIO_TogglePin(LD2_GPIO_Port, LD2_Pin);
	  		break;
	  	}

	  	if(!timeoutADC){

	  		if(calibADC){
	  		  	leerADC();
	  		  	calibrarVal();
	  		  	findLine(valueADCCAL);
	  		}else{
	  			leerADC();
	  			findLine(valueADC);
	  		}
	  		//findLine(valueADC);
	  		timeoutADC=2;
	  	}

	  	if((race)&&(!timeoutPID)){
	  		  	calcPID(PWM_motor1.u32,PWM_motor2.u32);
	  		  	timeoutPID=1;
	  	}

	  		if( ( ( (!jobTime.u32) && (killRace) ) ) || (stop) ) {
	  				  stop=0;
	  				  race=0;
	  				  killRace=0;
	  				__HAL_TIM_SET_COMPARE(&htim3,TIM_CHANNEL_1,0);
	  				__HAL_TIM_SET_COMPARE(&htim3,TIM_CHANNEL_2,0);
	  				__HAL_TIM_SET_COMPARE(&htim3,TIM_CHANNEL_3,0);
	  				__HAL_TIM_SET_COMPARE(&htim3,TIM_CHANNEL_4,0);
	  		}

	  		if(indTX_R!=indTX_W){
	  			uart();
	  		}

	  		if(indRX_R!=indRX_W){
	  			recibirmensaje();
	  		}

  }
  /* USER CODE END 3 */
}

void SystemClock_Config(void)
{
  RCC_OscInitTypeDef RCC_OscInitStruct = {0};
  RCC_ClkInitTypeDef RCC_ClkInitStruct = {0};

  /** Configure the main internal regulator output voltage
  */
  __HAL_RCC_PWR_CLK_ENABLE();
  __HAL_PWR_VOLTAGESCALING_CONFIG(PWR_REGULATOR_VOLTAGE_SCALE2);

  /** Initializes the RCC Oscillators according to the specified parameters
  * in the RCC_OscInitTypeDef structure.
  */
  RCC_OscInitStruct.OscillatorType = RCC_OSCILLATORTYPE_HSI;
  RCC_OscInitStruct.HSIState = RCC_HSI_ON;
  RCC_OscInitStruct.HSICalibrationValue = RCC_HSICALIBRATION_DEFAULT;
  RCC_OscInitStruct.PLL.PLLState = RCC_PLL_ON;
  RCC_OscInitStruct.PLL.PLLSource = RCC_PLLSOURCE_HSI;
  RCC_OscInitStruct.PLL.PLLM = 16;
  RCC_OscInitStruct.PLL.PLLN = 336;
  RCC_OscInitStruct.PLL.PLLP = RCC_PLLP_DIV4;
  RCC_OscInitStruct.PLL.PLLQ = 7;
  if (HAL_RCC_OscConfig(&RCC_OscInitStruct) != HAL_OK)
  {
    Error_Handler();
  }

  /** Initializes the CPU, AHB and APB buses clocks
  */
  RCC_ClkInitStruct.ClockType = RCC_CLOCKTYPE_HCLK|RCC_CLOCKTYPE_SYSCLK
                              |RCC_CLOCKTYPE_PCLK1|RCC_CLOCKTYPE_PCLK2;
  RCC_ClkInitStruct.SYSCLKSource = RCC_SYSCLKSOURCE_PLLCLK;
  RCC_ClkInitStruct.AHBCLKDivider = RCC_SYSCLK_DIV1;
  RCC_ClkInitStruct.APB1CLKDivider = RCC_HCLK_DIV2;
  RCC_ClkInitStruct.APB2CLKDivider = RCC_HCLK_DIV1;

  if (HAL_RCC_ClockConfig(&RCC_ClkInitStruct, FLASH_LATENCY_2) != HAL_OK)
  {
    Error_Handler();
  }
}

static void MX_ADC1_Init(void)
{

  ADC_ChannelConfTypeDef sConfig = {0};

  /** Configure the global features of the ADC (Clock, Resolution, Data Alignment and number of conversion)
  */
  hadc1.Instance = ADC1;
  hadc1.Init.ClockPrescaler = ADC_CLOCK_SYNC_PCLK_DIV4;
  hadc1.Init.Resolution = ADC_RESOLUTION_12B;
  hadc1.Init.ScanConvMode = ENABLE;
  hadc1.Init.ContinuousConvMode = DISABLE;
  hadc1.Init.DiscontinuousConvMode = DISABLE;
  hadc1.Init.ExternalTrigConvEdge = ADC_EXTERNALTRIGCONVEDGE_NONE;
  hadc1.Init.ExternalTrigConv = ADC_SOFTWARE_START;
  hadc1.Init.DataAlign = ADC_DATAALIGN_RIGHT;
  hadc1.Init.NbrOfConversion = 8;
  hadc1.Init.DMAContinuousRequests = ENABLE;
  hadc1.Init.EOCSelection = ADC_EOC_SEQ_CONV;
  if (HAL_ADC_Init(&hadc1) != HAL_OK)
  {
    Error_Handler();
  }

  /** Configure for the selected ADC regular channel its corresponding rank in the sequencer and its sample time.
  */
  sConfig.Channel = ADC_CHANNEL_0;
  sConfig.Rank = 1;
  sConfig.SamplingTime = ADC_SAMPLETIME_15CYCLES;
  if (HAL_ADC_ConfigChannel(&hadc1, &sConfig) != HAL_OK)
  {
    Error_Handler();
  }

  /** Configure for the selected ADC regular channel its corresponding rank in the sequencer and its sample time.
  */
  sConfig.Channel = ADC_CHANNEL_1;
  sConfig.Rank = 2;
  if (HAL_ADC_ConfigChannel(&hadc1, &sConfig) != HAL_OK)
  {
    Error_Handler();
  }

  /** Configure for the selected ADC regular channel its corresponding rank in the sequencer and its sample time.
  */
  sConfig.Channel = ADC_CHANNEL_4;
  sConfig.Rank = 3;
  if (HAL_ADC_ConfigChannel(&hadc1, &sConfig) != HAL_OK)
  {
    Error_Handler();
  }

  /** Configure for the selected ADC regular channel its corresponding rank in the sequencer and its sample time.
  */
  sConfig.Channel = ADC_CHANNEL_8;
  sConfig.Rank = 4;
  if (HAL_ADC_ConfigChannel(&hadc1, &sConfig) != HAL_OK)
  {
    Error_Handler();
  }

  /** Configure for the selected ADC regular channel its corresponding rank in the sequencer and its sample time.
  */
  sConfig.Channel = ADC_CHANNEL_10;
  sConfig.Rank = 5;
  if (HAL_ADC_ConfigChannel(&hadc1, &sConfig) != HAL_OK)
  {
    Error_Handler();
  }

  /** Configure for the selected ADC regular channel its corresponding rank in the sequencer and its sample time.
  */
  sConfig.Channel = ADC_CHANNEL_11;
  sConfig.Rank = 6;
  if (HAL_ADC_ConfigChannel(&hadc1, &sConfig) != HAL_OK)
  {
    Error_Handler();
  }

  /** Configure for the selected ADC regular channel its corresponding rank in the sequencer and its sample time.
  */
  sConfig.Channel = ADC_CHANNEL_12;
  sConfig.Rank = 7;
  if (HAL_ADC_ConfigChannel(&hadc1, &sConfig) != HAL_OK)
  {
    Error_Handler();
  }

  /** Configure for the selected ADC regular channel its corresponding rank in the sequencer and its sample time.
  */
  sConfig.Channel = ADC_CHANNEL_13;
  sConfig.Rank = 8;
  if (HAL_ADC_ConfigChannel(&hadc1, &sConfig) != HAL_OK)
  {
    Error_Handler();
  }

}

static void MX_TIM3_Init(void)
{

  TIM_ClockConfigTypeDef sClockSourceConfig = {0};
  TIM_MasterConfigTypeDef sMasterConfig = {0};
  TIM_OC_InitTypeDef sConfigOC = {0};

  htim3.Instance = TIM3;
  htim3.Init.Prescaler = 99;
  htim3.Init.CounterMode = TIM_COUNTERMODE_UP;
  htim3.Init.Period = 210;
  htim3.Init.ClockDivision = TIM_CLOCKDIVISION_DIV1;
  htim3.Init.AutoReloadPreload = TIM_AUTORELOAD_PRELOAD_DISABLE;
  if (HAL_TIM_Base_Init(&htim3) != HAL_OK)
  {
    Error_Handler();
  }
  sClockSourceConfig.ClockSource = TIM_CLOCKSOURCE_INTERNAL;
  if (HAL_TIM_ConfigClockSource(&htim3, &sClockSourceConfig) != HAL_OK)
  {
    Error_Handler();
  }
  if (HAL_TIM_PWM_Init(&htim3) != HAL_OK)
  {
    Error_Handler();
  }
  sMasterConfig.MasterOutputTrigger = TIM_TRGO_RESET;
  sMasterConfig.MasterSlaveMode = TIM_MASTERSLAVEMODE_DISABLE;
  if (HAL_TIMEx_MasterConfigSynchronization(&htim3, &sMasterConfig) != HAL_OK)
  {
    Error_Handler();
  }
  sConfigOC.OCMode = TIM_OCMODE_PWM1;
  sConfigOC.Pulse = 0;
  sConfigOC.OCPolarity = TIM_OCPOLARITY_HIGH;
  sConfigOC.OCFastMode = TIM_OCFAST_DISABLE;
  if (HAL_TIM_PWM_ConfigChannel(&htim3, &sConfigOC, TIM_CHANNEL_1) != HAL_OK)
  {
    Error_Handler();
  }
  if (HAL_TIM_PWM_ConfigChannel(&htim3, &sConfigOC, TIM_CHANNEL_2) != HAL_OK)
  {
    Error_Handler();
  }
  if (HAL_TIM_PWM_ConfigChannel(&htim3, &sConfigOC, TIM_CHANNEL_3) != HAL_OK)
  {
    Error_Handler();
  }
  if (HAL_TIM_PWM_ConfigChannel(&htim3, &sConfigOC, TIM_CHANNEL_4) != HAL_OK)
  {
    Error_Handler();
  }
  HAL_TIM_MspPostInit(&htim3);

}

static void MX_TIM4_Init(void)
{

  TIM_ClockConfigTypeDef sClockSourceConfig = {0};
  TIM_MasterConfigTypeDef sMasterConfig = {0};

  htim4.Instance = TIM4;
  htim4.Init.Prescaler = 100;
  htim4.Init.CounterMode = TIM_COUNTERMODE_UP;
  htim4.Init.Period = 8400;
  htim4.Init.ClockDivision = TIM_CLOCKDIVISION_DIV1;
  htim4.Init.AutoReloadPreload = TIM_AUTORELOAD_PRELOAD_DISABLE;
  if (HAL_TIM_Base_Init(&htim4) != HAL_OK)
  {
    Error_Handler();
  }
  sClockSourceConfig.ClockSource = TIM_CLOCKSOURCE_INTERNAL;
  if (HAL_TIM_ConfigClockSource(&htim4, &sClockSourceConfig) != HAL_OK)
  {
    Error_Handler();
  }
  sMasterConfig.MasterOutputTrigger = TIM_TRGO_RESET;
  sMasterConfig.MasterSlaveMode = TIM_MASTERSLAVEMODE_DISABLE;
  if (HAL_TIMEx_MasterConfigSynchronization(&htim4, &sMasterConfig) != HAL_OK)
  {
    Error_Handler();
  }

}

static void MX_USART1_UART_Init(void)
{

  huart1.Instance = USART1;
  huart1.Init.BaudRate = 115200;
  huart1.Init.WordLength = UART_WORDLENGTH_8B;
  huart1.Init.StopBits = UART_STOPBITS_1;
  huart1.Init.Parity = UART_PARITY_NONE;
  huart1.Init.Mode = UART_MODE_TX_RX;
  huart1.Init.HwFlowCtl = UART_HWCONTROL_NONE;
  huart1.Init.OverSampling = UART_OVERSAMPLING_16;
  if (HAL_UART_Init(&huart1) != HAL_OK)
  {
    Error_Handler();
  }

}

static void MX_USART2_UART_Init(void)
{

  huart2.Instance = USART2;
  huart2.Init.BaudRate = 115200;
  huart2.Init.WordLength = UART_WORDLENGTH_8B;
  huart2.Init.StopBits = UART_STOPBITS_1;
  huart2.Init.Parity = UART_PARITY_NONE;
  huart2.Init.Mode = UART_MODE_TX_RX;
  huart2.Init.HwFlowCtl = UART_HWCONTROL_NONE;
  huart2.Init.OverSampling = UART_OVERSAMPLING_16;
  if (HAL_UART_Init(&huart2) != HAL_OK)
  {
    Error_Handler();
  }

}

static void MX_DMA_Init(void)
{

  /* DMA controller clock enable */
  __HAL_RCC_DMA2_CLK_ENABLE();

  /* DMA interrupt init */
  /* DMA2_Stream0_IRQn interrupt configuration */
  HAL_NVIC_SetPriority(DMA2_Stream0_IRQn, 0, 0);
  HAL_NVIC_EnableIRQ(DMA2_Stream0_IRQn);

}

static void MX_GPIO_Init(void)
{
  GPIO_InitTypeDef GPIO_InitStruct = {0};

  /* GPIO Ports Clock Enable */
  __HAL_RCC_GPIOC_CLK_ENABLE();
  __HAL_RCC_GPIOH_CLK_ENABLE();
  __HAL_RCC_GPIOA_CLK_ENABLE();
  __HAL_RCC_GPIOB_CLK_ENABLE();

  /*Configure GPIO pin Output Level */
  HAL_GPIO_WritePin(LD2_GPIO_Port, LD2_Pin, GPIO_PIN_RESET);

  /*Configure GPIO pin : B1_Pin */
  GPIO_InitStruct.Pin = B1_Pin;
  GPIO_InitStruct.Mode = GPIO_MODE_IT_FALLING;
  GPIO_InitStruct.Pull = GPIO_NOPULL;
  HAL_GPIO_Init(B1_GPIO_Port, &GPIO_InitStruct);

  /*Configure GPIO pin : LD2_Pin */
  GPIO_InitStruct.Pin = LD2_Pin;
  GPIO_InitStruct.Mode = GPIO_MODE_OUTPUT_PP;
  GPIO_InitStruct.Pull = GPIO_NOPULL;
  GPIO_InitStruct.Speed = GPIO_SPEED_FREQ_LOW;
  HAL_GPIO_Init(LD2_GPIO_Port, &GPIO_InitStruct);

}

void Error_Handler(void)
{
  __disable_irq();
  while (1)
  {
  }
}
